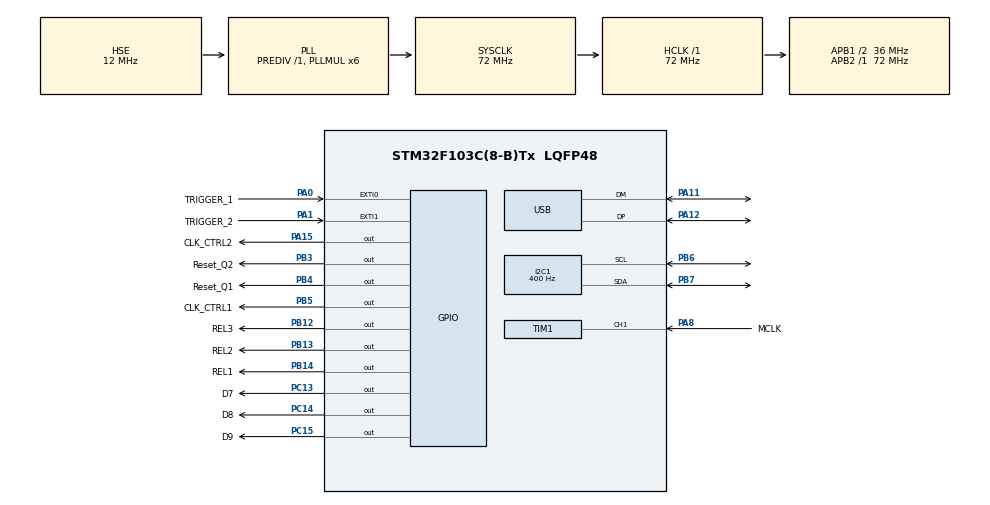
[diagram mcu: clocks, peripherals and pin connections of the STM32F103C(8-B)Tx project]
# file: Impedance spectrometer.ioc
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ADC1.Channel-0\#ChannelRegularConversion=ADC_CHANNEL_TEMPSENSOR
ADC1.Channel-IN=ADC_CHANNEL_TEMPSENSOR
ADC1.ContinuousConvMode=DISABLE
ADC1.DataAlign=ADC_DATAALIGN_RIGHT
ADC1.DiscontinuousConvMode=DISABLE
ADC1.EnableAnalogWatchDog=false
ADC1.EnableRegularConversion=ENABLE
ADC1.ExternalTrigConv=ADC_SOFTWARE_START
ADC1.InjNumberOfConversion=0
ADC1.NbrOfConversion=1
ADC1.NbrOfConversionFlag=1
ADC1.Rank-0\#ChannelRegularConversion=1
ADC1.SamplingTime-0\#ChannelRegularConversion=ADC_SAMPLETIME_1CYCLE_5
ADC1.ScanConvMode=ADC_SCAN_DISABLE
ADC1.master=1
I2C1.ClockSpeed=400
I2C1.I2C_Mode=I2C_Fast
Mcu.Family=STM32F1
Mcu.Name=STM32F103C(8-B)Tx
Mcu.Package=LQFP48
NVIC.ADC1_2_IRQn=true\:4\:0\:true\:true\:true\:7\:true
NVIC.EXTI0_IRQn=true\:1\:0\:true\:true\:true\:1\:true
NVIC.EXTI1_IRQn=true\:1\:0\:true\:true\:true\:2\:true
NVIC.I2C1_ER_IRQn=true\:1\:0\:true\:true\:true\:4\:true
NVIC.I2C1_EV_IRQn=true\:1\:0\:true\:true\:true\:3\:true
NVIC.PriorityGroup=NVIC_PRIORITYGROUP_4
NVIC.USB_HP_CAN1_TX_IRQn=true\:3\:0\:true\:true\:true\:5\:false
NVIC.USB_LP_CAN1_RX0_IRQn=true\:3\:0\:true\:true\:true\:6\:false
PA0-WKUP.GPIO_Label=TRIGGER_1
PA0-WKUP.Signal=GPXTI0
PA1.GPIO_Label=TRIGGER_2
PA1.Signal=GPXTI1
PA11.Mode=Device
PA11.Signal=USB_DM
PA12.Mode=Device
PA12.Signal=USB_DP
PA13.Mode=Serial_Wire
PA13.Signal=SYS_JTMS-SWDIO
PA14.Mode=Serial_Wire
PA14.Signal=SYS_JTCK-SWCLK
PA15.GPIO_Label=CLK_CTRL2
PA15.Signal=GPIO_Output
PA8.GPIO_Label=MCLK
PA8.Signal=S_TIM1_CH1
PB12.GPIO_Label=REL3
PB12.Signal=GPIO_Output
PB13.GPIO_Label=REL2
PB13.Signal=GPIO_Output
PB14.GPIO_Label=REL1
PB14.Signal=GPIO_Output
PB3.GPIO_Label=Reset_Q2
PB3.Signal=GPIO_Output
PB4.GPIO_Label=Reset_Q1
PB4.Signal=GPIO_Output
PB5.GPIO_Label=CLK_CTRL1
PB5.Signal=GPIO_Output
PB6.Mode=I2C
PB6.Signal=I2C1_SCL
PB7.Mode=I2C
PB7.Signal=I2C1_SDA
PC13-TAMPER-RTC.GPIO_Label=D7
PC13-TAMPER-RTC.PinState=GPIO_PIN_SET
PC13-TAMPER-RTC.Signal=GPIO_Output
PC14-OSC32_IN.GPIO_Label=D8
PC14-OSC32_IN.PinState=GPIO_PIN_SET
PC14-OSC32_IN.Signal=GPIO_Output
PC15-OSC32_OUT.GPIO_Label=D9
PC15-OSC32_OUT.PinState=GPIO_PIN_SET
PC15-OSC32_OUT.Signal=GPIO_Output
PD0-OSC_IN.Mode=HSE-External-Oscillator
PD0-OSC_IN.Signal=RCC_OSC_IN
PD1-OSC_OUT.Mode=HSE-External-Oscillator
PD1-OSC_OUT.Signal=RCC_OSC_OUT
ProjectManager.HeapSize=0x1000
ProjectManager.StackSize=0x2000
ProjectManager.TargetToolchain=MDK-ARM V5
RCC.ADCPresc=RCC_ADCPCLK2_DIV6
RCC.AHBFreq_Value=72000000
RCC.APB1CLKDivider=RCC_HCLK_DIV2
RCC.APB1Freq_Value=36000000
RCC.APB1TimFreq_Value=72000000
RCC.APB2Freq_Value=72000000
RCC.APB2TimFreq_Value=72000000
RCC.HCLKFreq_Value=72000000
RCC.HSE_VALUE=12000000
RCC.PLLMUL=RCC_PLL_MUL6
RCC.SYSCLKFreq_VALUE=72000000
RCC.SYSCLKSource=RCC_SYSCLKSOURCE_PLLCLK
RCC.USBFreq_Value=48000000
RCC.USBPrescaler=RCC_USBCLKSOURCE_PLL_DIV1_5
SH.S_TIM1_CH1.0=TIM1_CH1,TriggerSource_TI1FP1
USB.ep0_mps=DEP0CTL_MPS_64
USB_DEVICE.CLASS_NAME_FS=CDC
USB_DEVICE.MANUFACTURER_STRING=STMicroelectronics77
USB_DEVICE.PRODUCT_STRING_CDC_FS=STM32 Virtual ComPort77
USB_DEVICE.SERIALNUMBER_STRING_CDC_FS=00000000771A
USB_DEVICE.USBD_DEBUG_LEVEL=3
USB_DEVICE.USBD_SELF_POWERED=0
USB_DEVICE.USBD_SUPPORT_USER_STRING=1
USB_DEVICE.VirtualMode=Cdc
USB_DEVICE.VirtualModeFS=Cdc_FS
VP_ADC1_TempSens_Input.Mode=IN-TempSens
VP_TIM1_VS_ControllerModeClock.Mode=Clock Mode
VP_USB_DEVICE_VS_USB_DEVICE_CDC_FS.Mode=CDC_FS
board=Impedance spectrometer

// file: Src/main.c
/**
  ******************************************************************************
  * File Name          : main.c
  * Description        : Main program body
  ******************************************************************************
  * This notice applies to any and all portions of this file
  * that are not between comment pairs USER CODE BEGIN and
  * USER CODE END. Other portions of this file, whether
  * inserted by the user or by software development tools
  * are owned by their respective copyright owners.
  *
  * Copyright (c) 2018 STMicroelectronics International N.V.
  * All rights reserved.
  *
  * Redistribution and use in source and binary forms, with or without
  * modification, are permitted, provided that the following conditions are met:
  *
  * 1. Redistribution of source code must retain the above copyright notice,
  *    this list of conditions and the following disclaimer.
  * 2. Redistributions in binary form must reproduce the above copyright notice,
  *    this list of conditions and the following disclaimer in the documentation
  *    and/or other materials provided with the distribution.
  * 3. Neither the name of STMicroelectronics nor the names of other
  *    contributors to this software may be used to endorse or promote products
  *    derived from this software without specific written permission.
  * 4. This software, including modifications and/or derivative works of this
  *    software, must execute solely and exclusively on microcontroller or
  *    microprocessor devices manufactured by or for STMicroelectronics.
  * 5. Redistribution and use of this software other than as permitted under
  *    this license is void and will automatically terminate your rights under
  *    this license.
  *
  * THIS SOFTWARE IS PROVIDED BY STMICROELECTRONICS AND CONTRIBUTORS "AS IS"
  * AND ANY EXPRESS, IMPLIED OR STATUTORY WARRANTIES, INCLUDING, BUT NOT
  * LIMITED TO, THE IMPLIED WARRANTIES OF MERCHANTABILITY, FITNESS FOR A
  * PARTICULAR PURPOSE AND NON-INFRINGEMENT OF THIRD PARTY INTELLECTUAL PROPERTY
  * RIGHTS ARE DISCLAIMED TO THE FULLEST EXTENT PERMITTED BY LAW. IN NO EVENT
  * SHALL STMICROELECTRONICS OR CONTRIBUTORS BE LIABLE FOR ANY DIRECT, INDIRECT,
  * INCIDENTAL, SPECIAL, EXEMPLARY, OR CONSEQUENTIAL DAMAGES (INCLUDING, BUT NOT
  * LIMITED TO, PROCUREMENT OF SUBSTITUTE GOODS OR SERVICES; LOSS OF USE, DATA,
  * OR PROFITS; OR BUSINESS INTERRUPTION) HOWEVER CAUSED AND ON ANY THEORY OF
  * LIABILITY, WHETHER IN CONTRACT, STRICT LIABILITY, OR TORT (INCLUDING
  * NEGLIGENCE OR OTHERWISE) ARISING IN ANY WAY OUT OF THE USE OF THIS SOFTWARE,
  * EVEN IF ADVISED OF THE POSSIBILITY OF SUCH DAMAGE.
  *
  ******************************************************************************
  */
#include "main.h"
#include "stm32f1xx_hal.h"
#include "usb_device.h"

/* USER CODE BEGIN Includes */
#include "stdint.h"
#define DEFINE_VARIABLES
#include "global_variables.h"
#include "usbd_cdc_if.h"
#include "usb_device.h"
#include "usbd_core.h"
#include "usbd_desc.h"
#include "usbd_cdc.h"
#include "stm32f1xx_hal_i2c.h"
#include "control_functions.h"
#include "string.h"
#include "stdbool.h"

// UART/USB commands definitions

#define SET_NUMBER_OF_MEASUREMENTS 	"set_number_of_measurements"
#define SET_NUMBER_OF_POINTS 				"set_number_of_points"
#define SET_INCREMENT "set_increment"
#define GET_TEMP "get_temp"
#define SET_START_FREQUENCY "set_start_frequency"
#define ARM_TRIGGER "arm_trigger"
#define MEASURE "measure"
#define TEST "test"

// UART/USB return texts - TBA

/* USER CODE END Includes */

ADC_HandleTypeDef hadc1;

I2C_HandleTypeDef hi2c1;

TIM_HandleTypeDef htim1;

/* USER CODE BEGIN PV */
/* Private variables ---------------------------------------------------------*/

/* USER CODE END PV */

void SystemClock_Config(void);
static void MX_GPIO_Init(void);
static void MX_ADC1_Init(void);
static void MX_I2C1_Init(void);
static void MX_TIM1_Init(void);
static void MX_NVIC_Init(void);

/* USER CODE BEGIN PFP */
/* Private function prototypes -----------------------------------------------*/

/* USER CODE END PFP */

int main(void)
{

  /* MCU Configuration----------------------------------------------------------*/

  /* Reset of all peripherals, Initializes the Flash interface and the Systick. */
  HAL_Init();

  /* Configure the system clock */
  SystemClock_Config();

  /* Initialize all configured peripherals */
  MX_GPIO_Init();
  MX_ADC1_Init();
  MX_USB_DEVICE_Init();
  MX_I2C1_Init();
  MX_TIM1_Init();

  /* Initialize interrupts */
  MX_NVIC_Init();

  /* USER CODE BEGIN 2 */

	AD5933_address = 0x0D-1; //Doesn't work.
	DS1085_address = 0xB0; // Correct
	uint8_t AD5933_return;
	// AD5933_return = AD5933_init(&hi2c1, AD5933_address);
	DS1085_init(&hi2c1, DS1085_address);
	HAL_GPIO_WritePin(CLK_CTRL1_GPIO_Port, CLK_CTRL1_Pin, GPIO_PIN_RESET);
  /* USER CODE END 2 */

  /* Infinite loop */
  /* USER CODE BEGIN WHILE */
	while (1)
  {
		//HAL_GPIO_WritePin(D8_GPIO_Port, D8_Pin, GPIO_PIN_SET);
		//HAL_Delay(250);
		if (USB_new_command)
			//CDC_Transmit_FS((uint8_t *)USB_parameter, 1);
			{
				if (strcmp(USB_command, SET_NUMBER_OF_MEASUREMENTS) == 0)
					{
						measurements_to_go = atoi(USB_parameter);
					}
				else if (strcmp(USB_command, SET_NUMBER_OF_POINTS) == 0)
					{
						number_of_points = atoi(USB_parameter);
						if (number_of_points > 511 ) // If > 511 set 511
							{
								number_of_points = 511;
								char* to_send;
								uint16_t length = sprintf(to_send, "Too high number of points, 511 (max) is set");
								CDC_Transmit_FS((uint8_t *)to_send, length);
							}
						else
							{
								char* to_send;
								uint16_t length = sprintf(to_send, "%d points set", number_of_points);
								CDC_Transmit_FS((uint8_t *)to_send, length);
							}
						free(measurement_real);
						measurement_real = malloc(number_of_points * sizeof(uint16_t));
						free(measurement_imaginary);
						measurement_imaginary = malloc(number_of_points * sizeof(uint16_t));
						free(frequency);
						frequency = malloc(number_of_points * sizeof(uint16_t));
						AD5933_set_steps(&hi2c1, AD5933_address, number_of_points);
					}
				else if (strcmp(USB_command, SET_INCREMENT) == 0)
					{
						frequency_increment = atoi(USB_parameter);
						AD5933_set_increment(&hi2c1, AD5933_address, frequency_increment);
						frequency_set = 0;
					}
				else if (strcmp(USB_command, GET_TEMP) == 0)
					{
						if (atoi(USB_parameter) == 1)
							{
								int temperature = MCU_get_temperature(&hadc1);
								char* to_send;
								uint16_t length = sprintf(to_send, "Temperature of MCU is equal to %d \r\n", temperature);
								CDC_Transmit_FS((uint8_t *)to_send, length);
							}
						else if (atoi(USB_parameter) == 2)
							{
								uint8_t temperature = AD5933_get_temperature(&hi2c1, AD5933_address);
								//uint8_t temperature = 25;
								char* to_send;
								uint16_t length = sprintf(to_send, "Temperature of AD5933 is equal to %d \r\n", temperature);
								CDC_Transmit_FS((uint8_t *)to_send, length);
							}
						else
							{
								char* to_send;
								uint16_t length = sprintf(to_send, "Unknown sensor %d \r\n", atoi(USB_parameter));
								CDC_Transmit_FS((uint8_t *)to_send, length);
							}

					}
				else if (strcmp(USB_command, SET_START_FREQUENCY) == 0)
					{
						start_frequency = atoi(USB_parameter);
						AD5933_set_start(&hi2c1, AD5933_address, start_frequency);
						frequency_set = 0;
					}
				else if (strcmp(USB_command, ARM_TRIGGER) == 0)
					{
						if (atoi(USB_parameter) == 1)
							{
								measurement_configuration = 0x1;
								for (int i = 0; i < number_of_points; i++)
									{
										frequency[i] = start_frequency + i * frequency_increment;
									}
								frequency_set = 1;
							}
						else if (atoi(USB_parameter) == 2)
							{
								measurement_configuration = 0x2;
								for (int i = 0; i < number_of_points; i++)
									{
										frequency[i] = start_frequency + i * frequency_increment;
									}
								frequency_set = 1;
							}
							else
								{
									char* to_send;
									uint16_t length = sprintf(to_send, "No such trigger \r\n");
									CDC_Transmit_FS((uint8_t *)to_send, length);
								}
					}
				else if (strcmp(USB_command, MEASURE) == 0)
					{
							for (int i = 0; i < number_of_points; i++)
								{
									frequency[i] = start_frequency + i * frequency_increment;
								}
							frequency_set = 1;
							// MEASURE
							// SEND DATA
						}
				else if (strcmp(USB_command, TEST) == 0)
					{
						char* to_send;
						uint16_t length = sprintf(to_send, "AD5933 returned %d \r\n", AD5933_return);
						CDC_Transmit_FS((uint8_t *)to_send, length);
						HAL_GPIO_TogglePin(D7_GPIO_Port, D7_Pin);
					}
				else // Unknown command
				{
					char* to_send;
					uint16_t length = sprintf(to_send, "Unknown command \r\n");
					CDC_Transmit_FS((uint8_t *)to_send, length);
				}
				USB_new_command = false;
				//free(USB_command);
				//free(USB_parameter);
			}

  /* USER CODE END WHILE */

  /* USER CODE BEGIN 3 */
		//HAL_GPIO_WritePin(D8_GPIO_Port, D8_Pin, GPIO_PIN_RESET);
  }
  /* USER CODE END 3 */

}

/** System Clock Configuration
*/
void SystemClock_Config(void)
{

  RCC_OscInitTypeDef RCC_OscInitStruct;
  RCC_ClkInitTypeDef RCC_ClkInitStruct;
  RCC_PeriphCLKInitTypeDef PeriphClkInit;

    /**Initializes the CPU, AHB and APB busses clocks
    */
  RCC_OscInitStruct.OscillatorType = RCC_OSCILLATORTYPE_HSE;
  RCC_OscInitStruct.HSEState = RCC_HSE_ON;
  RCC_OscInitStruct.HSEPredivValue = RCC_HSE_PREDIV_DIV1;
  RCC_OscInitStruct.HSIState = RCC_HSI_ON;
  RCC_OscInitStruct.PLL.PLLState = RCC_PLL_ON;
  RCC_OscInitStruct.PLL.PLLSource = RCC_PLLSOURCE_HSE;
  RCC_OscInitStruct.PLL.PLLMUL = RCC_PLL_MUL6;
  if (HAL_RCC_OscConfig(&RCC_OscInitStruct) != HAL_OK)
  {
    _Error_Handler(__FILE__, __LINE__);
  }

    /**Initializes the CPU, AHB and APB busses clocks
    */
  RCC_ClkInitStruct.ClockType = RCC_CLOCKTYPE_HCLK|RCC_CLOCKTYPE_SYSCLK
                              |RCC_CLOCKTYPE_PCLK1|RCC_CLOCKTYPE_PCLK2;
  RCC_ClkInitStruct.SYSCLKSource = RCC_SYSCLKSOURCE_PLLCLK;
  RCC_ClkInitStruct.AHBCLKDivider = RCC_SYSCLK_DIV1;
  RCC_ClkInitStruct.APB1CLKDivider = RCC_HCLK_DIV2;
  RCC_ClkInitStruct.APB2CLKDivider = RCC_HCLK_DIV1;

  if (HAL_RCC_ClockConfig(&RCC_ClkInitStruct, FLASH_LATENCY_2) != HAL_OK)
  {
    _Error_Handler(__FILE__, __LINE__);
  }

  PeriphClkInit.PeriphClockSelection = RCC_PERIPHCLK_ADC|RCC_PERIPHCLK_USB;
  PeriphClkInit.AdcClockSelection = RCC_ADCPCLK2_DIV6;
  PeriphClkInit.UsbClockSelection = RCC_USBCLKSOURCE_PLL_DIV1_5;
  if (HAL_RCCEx_PeriphCLKConfig(&PeriphClkInit) != HAL_OK)
  {
    _Error_Handler(__FILE__, __LINE__);
  }

    /**Configure the Systick interrupt time
    */
  HAL_SYSTICK_Config(HAL_RCC_GetHCLKFreq()/1000);

    /**Configure the Systick
    */
  HAL_SYSTICK_CLKSourceConfig(SYSTICK_CLKSOURCE_HCLK);

  /* SysTick_IRQn interrupt configuration */
  HAL_NVIC_SetPriority(SysTick_IRQn, 1, 0);
}

/** NVIC Configuration
*/
static void MX_NVIC_Init(void)
{
  /* EXTI0_IRQn interrupt configuration */
  HAL_NVIC_SetPriority(EXTI0_IRQn, 1, 0);
  HAL_NVIC_EnableIRQ(EXTI0_IRQn);
  /* EXTI1_IRQn interrupt configuration */
  HAL_NVIC_SetPriority(EXTI1_IRQn, 1, 0);
  HAL_NVIC_EnableIRQ(EXTI1_IRQn);
  /* I2C1_EV_IRQn interrupt configuration */
  HAL_NVIC_SetPriority(I2C1_EV_IRQn, 1, 0);
  HAL_NVIC_EnableIRQ(I2C1_EV_IRQn);
  /* I2C1_ER_IRQn interrupt configuration */
  HAL_NVIC_SetPriority(I2C1_ER_IRQn, 1, 0);
  HAL_NVIC_EnableIRQ(I2C1_ER_IRQn);
  /* USB_HP_CAN1_TX_IRQn interrupt configuration */
  HAL_NVIC_SetPriority(USB_HP_CAN1_TX_IRQn, 3, 0);
  HAL_NVIC_EnableIRQ(USB_HP_CAN1_TX_IRQn);
  /* USB_LP_CAN1_RX0_IRQn interrupt configuration */
  HAL_NVIC_SetPriority(USB_LP_CAN1_RX0_IRQn, 3, 0);
  HAL_NVIC_EnableIRQ(USB_LP_CAN1_RX0_IRQn);
  /* ADC1_2_IRQn interrupt configuration */
  HAL_NVIC_SetPriority(ADC1_2_IRQn, 4, 0);
  HAL_NVIC_EnableIRQ(ADC1_2_IRQn);
}

/* ADC1 init function */
static void MX_ADC1_Init(void)
{

  ADC_ChannelConfTypeDef sConfig;

    /**Common config
    */
  hadc1.Instance = ADC1;
  hadc1.Init.ScanConvMode = ADC_SCAN_DISABLE;
  hadc1.Init.ContinuousConvMode = DISABLE;
  hadc1.Init.DiscontinuousConvMode = DISABLE;
  hadc1.Init.ExternalTrigConv = ADC_SOFTWARE_START;
  hadc1.Init.DataAlign = ADC_DATAALIGN_RIGHT;
  hadc1.Init.NbrOfConversion = 1;
  if (HAL_ADC_Init(&hadc1) != HAL_OK)
  {
    _Error_Handler(__FILE__, __LINE__);
  }

    /**Configure Regular Channel
    */
  sConfig.Channel = ADC_CHANNEL_TEMPSENSOR;
  sConfig.Rank = 1;
  sConfig.SamplingTime = ADC_SAMPLETIME_1CYCLE_5;
  if (HAL_ADC_ConfigChannel(&hadc1, &sConfig) != HAL_OK)
  {
    _Error_Handler(__FILE__, __LINE__);
  }

}

/* I2C1 init function */
static void MX_I2C1_Init(void)
{

  hi2c1.Instance = I2C1;
  hi2c1.Init.ClockSpeed = 400;
  hi2c1.Init.DutyCycle = I2C_DUTYCYCLE_2;
  hi2c1.Init.OwnAddress1 = 0;
  hi2c1.Init.AddressingMode = I2C_ADDRESSINGMODE_7BIT;
  hi2c1.Init.DualAddressMode = I2C_DUALADDRESS_DISABLE;
  hi2c1.Init.OwnAddress2 = 0;
  hi2c1.Init.GeneralCallMode = I2C_GENERALCALL_DISABLE;
  hi2c1.Init.NoStretchMode = I2C_NOSTRETCH_DISABLE;
  if (HAL_I2C_Init(&hi2c1) != HAL_OK)
  {
    _Error_Handler(__FILE__, __LINE__);
  }

}

/* TIM1 init function */
static void MX_TIM1_Init(void)
{

  TIM_SlaveConfigTypeDef sSlaveConfig;
  TIM_MasterConfigTypeDef sMasterConfig;

  htim1.Instance = TIM1;
  htim1.Init.Prescaler = 0;
  htim1.Init.CounterMode = TIM_COUNTERMODE_UP;
  htim1.Init.Period = 0;
  htim1.Init.ClockDivision = TIM_CLOCKDIVISION_DIV1;
  htim1.Init.RepetitionCounter = 0;
  htim1.Init.AutoReloadPreload = TIM_AUTORELOAD_PRELOAD_DISABLE;
  if (HAL_TIM_Base_Init(&htim1) != HAL_OK)
  {
    _Error_Handler(__FILE__, __LINE__);
  }

  sSlaveConfig.SlaveMode = TIM_SLAVEMODE_EXTERNAL1;
  sSlaveConfig.InputTrigger = TIM_TS_TI1FP1;
  sSlaveConfig.TriggerPolarity = TIM_TRIGGERPOLARITY_RISING;
  sSlaveConfig.TriggerFilter = 0;
  if (HAL_TIM_SlaveConfigSynchronization(&htim1, &sSlaveConfig) != HAL_OK)
  {
    _Error_Handler(__FILE__, __LINE__);
  }

  sMasterConfig.MasterOutputTrigger = TIM_TRGO_RESET;
  sMasterConfig.MasterSlaveMode = TIM_MASTERSLAVEMODE_DISABLE;
  if (HAL_TIMEx_MasterConfigSynchronization(&htim1, &sMasterConfig) != HAL_OK)
  {
    _Error_Handler(__FILE__, __LINE__);
  }

}

/** Configure pins as
        * Analog
        * Input
        * Output
        * EVENT_OUT
        * EXTI
*/
static void MX_GPIO_Init(void)
{

  GPIO_InitTypeDef GPIO_InitStruct;

  /* GPIO Ports Clock Enable */
  __HAL_RCC_GPIOC_CLK_ENABLE();
  __HAL_RCC_GPIOD_CLK_ENABLE();
  __HAL_RCC_GPIOA_CLK_ENABLE();
  __HAL_RCC_GPIOB_CLK_ENABLE();

  /*Configure GPIO pin Output Level */
  HAL_GPIO_WritePin(GPIOC, D7_Pin|D8_Pin|D9_Pin, GPIO_PIN_SET);

  /*Configure GPIO pin Output Level */
  HAL_GPIO_WritePin(GPIOB, REL3_Pin|REL2_Pin|REL1_Pin|Reset_Q2_Pin
                          |Reset_Q1_Pin|CLK_CTRL1_Pin, GPIO_PIN_RESET);

  /*Configure GPIO pin Output Level */
  HAL_GPIO_WritePin(CLK_CTRL2_GPIO_Port, CLK_CTRL2_Pin, GPIO_PIN_RESET);

  /*Configure GPIO pins : D7_Pin D8_Pin D9_Pin */
  GPIO_InitStruct.Pin = D7_Pin|D8_Pin|D9_Pin;
  GPIO_InitStruct.Mode = GPIO_MODE_OUTPUT_PP;
  GPIO_InitStruct.Speed = GPIO_SPEED_FREQ_LOW;
  HAL_GPIO_Init(GPIOC, &GPIO_InitStruct);

  /*Configure GPIO pins : TRIGGER_1_Pin TRIGGER_2_Pin */
  GPIO_InitStruct.Pin = TRIGGER_1_Pin|TRIGGER_2_Pin;
  GPIO_InitStruct.Mode = GPIO_MODE_IT_RISING;
  GPIO_InitStruct.Pull = GPIO_NOPULL;
  HAL_GPIO_Init(GPIOA, &GPIO_InitStruct);

  /*Configure GPIO pins : REL3_Pin REL2_Pin REL1_Pin Reset_Q2_Pin
                           Reset_Q1_Pin CLK_CTRL1_Pin */
  GPIO_InitStruct.Pin = REL3_Pin|REL2_Pin|REL1_Pin|Reset_Q2_Pin
                          |Reset_Q1_Pin|CLK_CTRL1_Pin;
  GPIO_InitStruct.Mode = GPIO_MODE_OUTPUT_PP;
  GPIO_InitStruct.Speed = GPIO_SPEED_FREQ_LOW;
  HAL_GPIO_Init(GPIOB, &GPIO_InitStruct);

  /*Configure GPIO pin : CLK_CTRL2_Pin */
  GPIO_InitStruct.Pin = CLK_CTRL2_Pin;
  GPIO_InitStruct.Mode = GPIO_MODE_OUTPUT_PP;
  GPIO_InitStruct.Speed = GPIO_SPEED_FREQ_LOW;
  HAL_GPIO_Init(CLK_CTRL2_GPIO_Port, &GPIO_InitStruct);

}

void _Error_Handler(char * file, int line)
{
  while(1)
  {
  }
}

/************************ (C) COPYRIGHT STMicroelectronics *****END OF FILE****/
